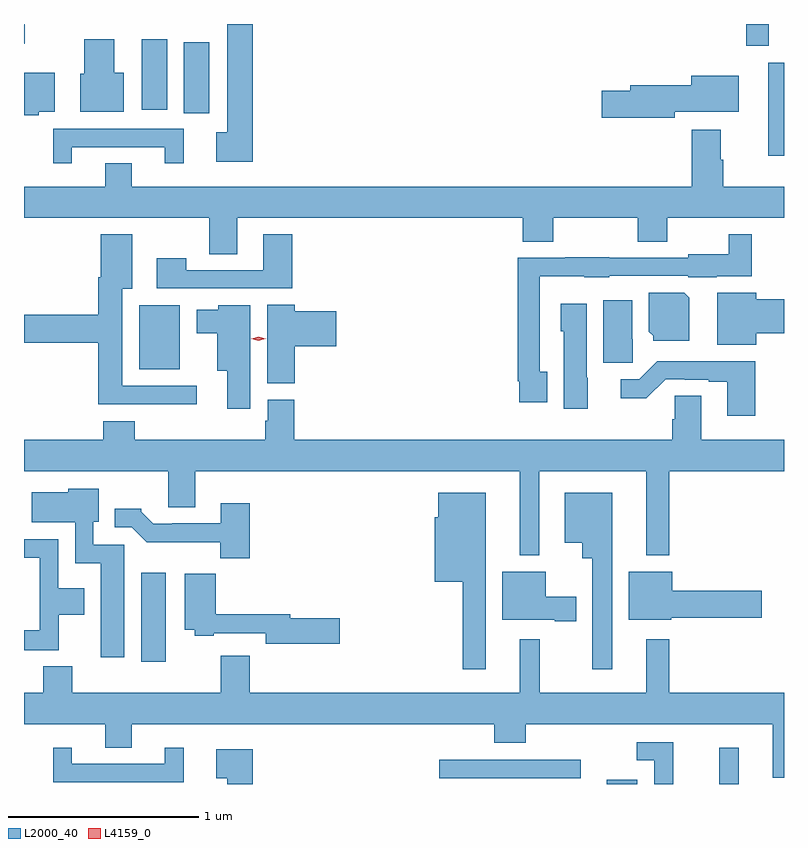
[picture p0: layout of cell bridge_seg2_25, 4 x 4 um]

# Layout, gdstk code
import gdstk
lib = gdstk.Library(unit=1e-6, precision=1e-09)
def R(c, l, rs):  # rectangles x0, y0, x1, y1
    for r in rs: c.add(gdstk.rectangle(r[:2], r[2:], *l))
def P(c, l, *ps):  # polygons
    for p in ps: c.add(gdstk.Polygon(p, *l))
L2000_40 = (2000, 40)
L4159_0 = (4159, 0)

bridge_seg2_25 = lib.new_cell('bridge_seg2_25')
R(bridge_seg2_25, L2000_40, [(673.076,645.989,673.237,646.012), (673.667,645.989,673.771,646.18), (672.195,646.02,672.94,646.116), (670.625,646.632,670.756,647.101), (670.616,648.173,670.828,648.508), (673.925,649.296,674.009,649.786), (670.85,649.518,670.984,649.894), (670.628,649.539,670.762,649.91), (673.81,649.875,673.929,649.989), (670.009,649.886,670.014,649.989)])
P(bridge_seg2_25, L2000_40, [(671.213,649.989),(671.078,649.989),(671.078,649.418),(671.022,649.418),(671.022,649.265),(671.213,649.265)],
  [(670.534,649.732),(670.483,649.732),(670.483,649.909),(670.325,649.909),(670.325,649.728),(670.304,649.728),(670.304,649.526),(670.534,649.526)],
  [(670.086,649.526),(670.171,649.526),(670.171,649.732),(670.009,649.732),(670.009,649.508),(670.086,649.508)],
  [(673.434,649.526),(673.771,649.526),(673.771,649.717),(673.52,649.717),(673.52,649.667),(673.199,649.667),(673.199,649.637),(673.05,649.637),(673.05,649.495),(673.434,649.495)],
  [(670.261,649.341),(670.751,649.341),(670.751,649.257),(670.849,649.257),(670.849,649.437),(670.163,649.437),(670.163,649.257),(670.261,649.257)],
  [(671.131,648.968),(672.635,648.968),(672.635,648.844),(672.795,648.844),(672.795,648.968),(673.24,648.968),(673.24,648.844),(673.395,648.844),(673.395,648.968),(674.009,648.968),(674.009,649.132),(673.688,649.132),(673.688,649.274),(673.675,649.274),(673.675,649.432),(673.523,649.432),(673.523,649.132),(670.576,649.132),(670.576,649.256),(670.436,649.256),(670.436,649.132),(670.009,649.132),(670.009,648.968),(670.984,648.968),(670.984,648.778),(671.131,648.778)],
  [(672.763,648.158),(672.723,648.158),(672.723,648.662),(672.957,648.662),(672.957,648.656),(673.089,648.656),(673.089,648.663),(673.506,648.663),(673.506,648.656),(673.656,648.656),(673.656,648.662),(673.84,648.662),(673.84,648.883),(673.719,648.883),(673.719,648.778),(673.506,648.778),(673.506,648.759),(673.089,648.759),(673.089,648.761),(672.857,648.761),(672.857,648.759),(672.607,648.759),(672.607,648.109),(672.615,648.109),(672.615,647.997),(672.763,647.997)],
  [(670.918,648.084),(670.525,648.084),(670.525,648.596),(670.579,648.596),(670.579,648.883),(670.412,648.883),(670.412,648.656),(670.4,648.656),(670.4,648.458),(670.009,648.458),(670.009,648.311),(670.4,648.311),(670.4,647.987),(670.918,647.987)],
  [(671.42,648.883),(671.267,648.883),(671.267,648.693),(670.863,648.693),(670.863,648.757),(670.707,648.757),(670.707,648.597),(671.42,648.597)],
  [(673.51,648.548),(673.484,648.574),(673.298,648.574),(673.298,648.37),(673.32,648.348),(673.32,648.323),(673.51,648.323)],
  [(673.864,648.362),(674.009,648.362),(674.009,648.541),(673.864,648.541),(673.864,648.574),(673.658,648.574),(673.658,648.302),(673.864,648.302)],
  [(673.214,648.33),(673.21,648.33),(673.21,648.535),(673.058,648.535),(673.058,648.207),(673.214,648.207)],
  [(672.976,648.126),(672.97,648.126),(672.97,648.517),(672.833,648.517),(672.833,648.372),(672.851,648.372),(672.851,647.964),(672.976,647.964)],
  [(671.435,648.293),(671.653,648.293),(671.653,648.476),(671.435,648.476),(671.435,648.512),(671.288,648.512),(671.288,648.097),(671.435,648.097)],
  [(671.2,648.508),(671.031,648.508),(671.031,648.484),(670.919,648.484),(670.919,648.362),(671.027,648.362),(671.027,648.164),(671.078,648.164),(671.078,647.964),(671.2,647.964)],
  [(673.857,648.214),(673.342,648.214),(673.248,648.12),(673.149,648.12),(673.149,648.018),(673.284,648.018),(673.386,648.12),(673.486,648.12),(673.486,648.117),(673.613,648.117),(673.613,648.105),(673.709,648.105),(673.709,647.928),(673.857,647.928)],
  [(672.721,647.636),(673.283,647.636),(673.283,647.192),(673.405,647.192),(673.405,647.636),(674.009,647.636),(674.009,647.8),(673.573,647.8),(673.573,648.032),(673.434,648.032),(673.434,647.91),(673.421,647.91),(673.421,647.8),(671.432,647.8),(671.432,648.012),(671.291,648.012),(671.291,647.901),(671.279,647.901),(671.279,647.8),(670.592,647.8),(670.592,647.899),(670.427,647.899),(670.427,647.8),(670.009,647.8),(670.009,647.636),(670.769,647.636),(670.769,647.446),(670.909,647.446),(670.909,647.636),(672.617,647.636),(672.617,647.192),(672.721,647.192)],
  [(670.537,647.247),(670.374,647.247),(670.374,647.37),(670.402,647.37),(670.402,647.542),(670.242,647.542),(670.242,647.524),(670.05,647.524),(670.05,647.366),(670.278,647.366),(670.278,647.15),(670.412,647.15),(670.412,646.656),(670.537,646.656)],
  [(672.439,647.521),(672.188,647.521),(672.188,647.394),(672.17,647.394),(672.17,647.054),(672.318,647.054),(672.318,646.593),(672.439,646.593)],
  [(673.105,647.521),(672.854,647.521),(672.854,647.258),(672.947,647.258),(672.947,647.177),(673.001,647.177),(673.001,646.593),(673.105,646.593)],
  [(671.198,647.467),(671.045,647.467),(671.045,647.361),(670.789,647.361),(670.789,647.358),(670.69,647.358),(670.626,647.422),(670.626,647.437),(670.487,647.437),(670.487,647.34),(670.575,647.34),(670.654,647.262),(671.043,647.262),(671.043,647.177),(671.198,647.177)],
  [(670.191,646.88),(670.327,646.88),(670.327,647.02),(670.188,647.02),(670.188,647.277),(670.009,647.277),(670.009,647.181),(670.092,647.181),(670.092,646.798),(670.009,646.798),(670.009,646.694),(670.191,646.694)],
  [(672.916,646.975),(672.754,646.975),(672.754,647.107),(672.527,647.107),(672.527,646.853),(672.803,646.853),(672.803,646.846),(672.916,646.846)],
  [(673.416,646.864),(673.891,646.864),(673.891,647.006),(673.42,647.006),(673.42,647.107),(673.193,647.107),(673.193,646.853),(673.416,646.853)],
  [(671.671,646.862),(671.41,646.862),(671.41,646.883),(671.018,646.883),(671.018,647.095),(670.856,647.095),(670.856,646.802),(670.908,646.802),(670.908,646.77),(671.008,646.77),(671.008,646.782),(671.282,646.782),(671.282,646.727),(671.671,646.727)],
  [(674.009,646.468),(673.405,646.468),(673.405,646.75),(673.283,646.75),(673.283,646.468),(672.724,646.468),(672.724,646.75),(672.617,646.75),(672.617,646.468),(671.198,646.468),(671.198,646.663),(671.045,646.663),(671.045,646.468),(670.262,646.468),(670.262,646.609),(670.109,646.609),(670.109,646.468),(670.009,646.468),(670.009,646.304),(670.436,646.304),(670.436,646.18),(670.576,646.18),(670.576,646.304),(672.485,646.304),(672.485,646.205),(672.65,646.205),(672.65,646.304),(673.949,646.304),(673.949,646.023),(674.009,646.023)],
  [(673.425,646.209),(673.233,646.209),(673.233,646.113),(673.326,646.113),(673.326,645.989),(673.425,645.989)],
  [(670.849,646.18),(670.751,646.18),(670.751,646.095),(670.261,646.095),(670.261,646.18),(670.163,646.18),(670.163,645.999),(670.849,645.999)],
  [(671.213,646.171),(671.022,646.171),(671.022,646.019),(671.078,646.019),(671.078,645.989),(671.213,645.989)])
P(bridge_seg2_25, L4159_0, [(671.243,648.322),(671.205,648.332),(671.205,648.333),(671.205,648.333),(671.244,648.342),(671.282,648.332),(671.282,648.332),(671.282,648.332)])

lib.write_gds('bridge_seg2_25.gds')
